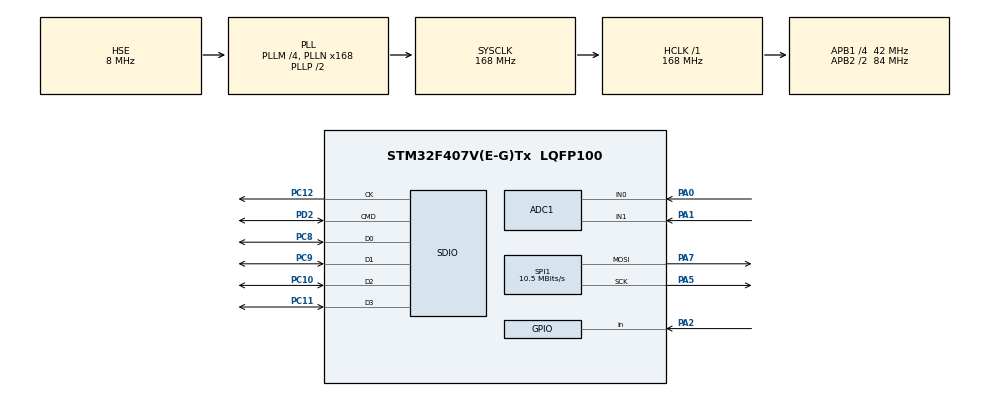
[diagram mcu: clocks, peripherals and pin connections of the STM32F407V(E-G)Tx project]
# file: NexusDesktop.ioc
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ADC1.Channel-0\#ChannelRegularConversion=ADC_CHANNEL_0
ADC1.ContinuousConvMode=ENABLE
ADC1.NbrOfConversionFlag=1
ADC1.Rank-0\#ChannelRegularConversion=1
ADC1.SamplingTime-0\#ChannelRegularConversion=ADC_SAMPLETIME_3CYCLES
ADC1.master=1
Dma.Request0=SDIO_RX
Dma.Request1=SDIO_TX
Dma.SDIO_RX.0.Direction=DMA_PERIPH_TO_MEMORY
Dma.SDIO_RX.0.FIFOMode=DMA_FIFOMODE_ENABLE
Dma.SDIO_RX.0.FIFOThreshold=DMA_FIFO_THRESHOLD_FULL
Dma.SDIO_RX.0.Instance=DMA2_Stream3
Dma.SDIO_RX.0.MemBurst=DMA_MBURST_INC4
Dma.SDIO_RX.0.MemDataAlignment=DMA_MDATAALIGN_WORD
Dma.SDIO_RX.0.MemInc=DMA_MINC_ENABLE
Dma.SDIO_RX.0.Mode=DMA_PFCTRL
Dma.SDIO_RX.0.PeriphBurst=DMA_PBURST_INC4
Dma.SDIO_RX.0.PeriphDataAlignment=DMA_PDATAALIGN_WORD
Dma.SDIO_RX.0.PeriphInc=DMA_PINC_DISABLE
Dma.SDIO_RX.0.Priority=DMA_PRIORITY_LOW
Dma.SDIO_TX.1.Direction=DMA_MEMORY_TO_PERIPH
Dma.SDIO_TX.1.FIFOMode=DMA_FIFOMODE_ENABLE
Dma.SDIO_TX.1.FIFOThreshold=DMA_FIFO_THRESHOLD_FULL
Dma.SDIO_TX.1.Instance=DMA2_Stream6
Dma.SDIO_TX.1.MemBurst=DMA_MBURST_INC4
Dma.SDIO_TX.1.MemDataAlignment=DMA_MDATAALIGN_WORD
Dma.SDIO_TX.1.MemInc=DMA_MINC_ENABLE
Dma.SDIO_TX.1.Mode=DMA_PFCTRL
Dma.SDIO_TX.1.PeriphBurst=DMA_PBURST_INC4
Dma.SDIO_TX.1.PeriphDataAlignment=DMA_PDATAALIGN_WORD
Dma.SDIO_TX.1.PeriphInc=DMA_PINC_DISABLE
Dma.SDIO_TX.1.Priority=DMA_PRIORITY_LOW
FATFS._CODE_PAGE=936
FREERTOS.Tasks01=defaultTask,24,128,StartDefaultTask,Default,NULL,Dynamic,NULL,NULL
Mcu.Family=STM32F4
Mcu.Name=STM32F407V(E-G)Tx
Mcu.Package=LQFP100
NVIC.DMA2_Stream3_IRQn=true\:5\:0\:false\:false\:true\:true\:false\:true\:true
NVIC.DMA2_Stream6_IRQn=true\:5\:0\:false\:false\:true\:true\:false\:true\:true
NVIC.PriorityGroup=NVIC_PRIORITYGROUP_4
NVIC.SDIO_IRQn=true\:5\:0\:false\:false\:true\:true\:true\:true\:true
NVIC.TIM4_IRQn=true\:15\:0\:false\:false\:true\:false\:false\:true\:true
NVIC.TIM5_IRQn=true\:5\:0\:false\:false\:true\:true\:true\:true\:true
NVIC.TimeBase=TIM4_IRQn
NVIC.TimeBaseIP=TIM4
PA0-WKUP.Signal=ADCx_IN0
PA1.Signal=ADCx_IN1
PA13.Mode=Serial_Wire
PA13.Signal=SYS_JTMS-SWDIO
PA14.Mode=Serial_Wire
PA14.Signal=SYS_JTCK-SWCLK
PA2.GPIO_PuPd=GPIO_PULLUP
PA2.Signal=GPIO_Input
PA5.Mode=TX_Only_Simplex_Unidirect_Master
PA5.Signal=SPI1_SCK
PA7.Mode=TX_Only_Simplex_Unidirect_Master
PA7.Signal=SPI1_MOSI
PC10.Mode=SD_4_bits_Wide_bus
PC10.Signal=SDIO_D2
PC11.Mode=SD_4_bits_Wide_bus
PC11.Signal=SDIO_D3
PC12.Mode=SD_4_bits_Wide_bus
PC12.Signal=SDIO_CK
PC14-OSC32_IN.Mode=LSE-External-Oscillator
PC14-OSC32_IN.Signal=RCC_OSC32_IN
PC15-OSC32_OUT.Mode=LSE-External-Oscillator
PC15-OSC32_OUT.Signal=RCC_OSC32_OUT
PC8.Mode=SD_4_bits_Wide_bus
PC8.Signal=SDIO_D0
PC9.Mode=SD_4_bits_Wide_bus
PC9.Signal=SDIO_D1
PD2.Mode=SD_4_bits_Wide_bus
PD2.Signal=SDIO_CMD
PH0-OSC_IN.Mode=HSE-External-Oscillator
PH0-OSC_IN.Signal=RCC_OSC_IN
PH1-OSC_OUT.Mode=HSE-External-Oscillator
PH1-OSC_OUT.Signal=RCC_OSC_OUT
ProjectManager.HeapSize=0x200
ProjectManager.StackSize=0x400
ProjectManager.TargetToolchain=MDK-ARM V5.32
RCC.48MHZClocksFreq_Value=48000000
RCC.AHBFreq_Value=168000000
RCC.APB1CLKDivider=RCC_HCLK_DIV4
RCC.APB1Freq_Value=42000000
RCC.APB1TimFreq_Value=84000000
RCC.APB2CLKDivider=RCC_HCLK_DIV2
RCC.APB2Freq_Value=84000000
RCC.APB2TimFreq_Value=168000000
RCC.CortexFreq_Value=168000000
RCC.HCLKFreq_Value=168000000
RCC.HSE_VALUE=8000000
RCC.HSI_VALUE=16000000
RCC.PLLM=4
RCC.PLLN=168
RCC.PLLQ=7
RCC.PLLSourceVirtual=RCC_PLLSOURCE_HSE
RCC.SYSCLKFreq_VALUE=168000000
RCC.SYSCLKSource=RCC_SYSCLKSOURCE_PLLCLK
RCC.VCOOutputFreq_Value=336000000
SDIO.ClockDiv=4
SH.ADCx_IN0.0=ADC1_IN0,IN0
SH.ADCx_IN1.0=ADC1_IN1,IN1
SPI1.BaudRatePrescaler=SPI_BAUDRATEPRESCALER_8
SPI1.CalculateBaudRate=10.5 MBits/s
SPI1.Direction=SPI_DIRECTION_2LINES
SPI1.Mode=SPI_MODE_MASTER
SPI1.VirtualType=VM_MASTER
TIM5.AutoReloadPreload=TIM_AUTORELOAD_PRELOAD_ENABLE
TIM5.Period=1000-1
TIM5.Prescaler=84-1
VP_FATFS_VS_SDIO.Mode=SDIO
VP_FREERTOS_VS_CMSIS_V2.Mode=CMSIS_V2
VP_SYS_VS_tim4.Mode=TIM4
VP_TIM5_VS_ClockSourceINT.Mode=Internal
board=custom

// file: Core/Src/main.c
/* USER CODE BEGIN Header */
/**
  ******************************************************************************
  * @file           : main.c
  * @brief          : Main program body
  ******************************************************************************
  * @attention
  *
  * Copyright (c) 2026 STMicroelectronics.
  * All rights reserved.
  *
  * This software is licensed under terms that can be found in the LICENSE file
  * in the root directory of this software component.
  * If no LICENSE file comes with this software, it is provided AS-IS.
  *
  ******************************************************************************
  */
/* USER CODE END Header */
#include "main.h"
#include "cmsis_os.h"
#include "adc.h"
#include "dma.h"
#include "fatfs.h"
#include "sdio.h"
#include "spi.h"
#include "tim.h"
#include "gpio.h"

/* USER CODE BEGIN Includes */
#include "app.h"

/* USER CODE END Includes */

void SystemClock_Config(void);
void MX_FREERTOS_Init(void);

int main(void)
{

  /* MCU Configuration--------------------------------------------------------*/

  /* Reset of all peripherals, Initializes the Flash interface and the Systick. */
  HAL_Init();

  /* Configure the system clock */
  SystemClock_Config();

  /* Initialize all configured peripherals */
  MX_GPIO_Init();
  MX_DMA_Init();
  MX_ADC1_Init();
  MX_TIM5_Init();
  MX_SPI1_Init();
  MX_SDIO_SD_Init();
  MX_FATFS_Init();
  /* USER CODE BEGIN 2 */
  App_Init();

  /* USER CODE END 2 */

  /* Init scheduler */
  osKernelInitialize();  /* Call init function for freertos objects (in cmsis_os2.c) */
  MX_FREERTOS_Init();

  /* Start scheduler */
  osKernelStart();

  /* We should never get here as control is now taken by the scheduler */

  /* Infinite loop */
  while (1)
  {

  }
}

void SystemClock_Config(void)
{
  RCC_OscInitTypeDef RCC_OscInitStruct = {0};
  RCC_ClkInitTypeDef RCC_ClkInitStruct = {0};

  /** Configure the main internal regulator output voltage
  */
  __HAL_RCC_PWR_CLK_ENABLE();
  __HAL_PWR_VOLTAGESCALING_CONFIG(PWR_REGULATOR_VOLTAGE_SCALE1);

  /** Initializes the RCC Oscillators according to the specified parameters
  * in the RCC_OscInitTypeDef structure.
  */
  RCC_OscInitStruct.OscillatorType = RCC_OSCILLATORTYPE_HSE;
  RCC_OscInitStruct.HSEState = RCC_HSE_ON;
  RCC_OscInitStruct.PLL.PLLState = RCC_PLL_ON;
  RCC_OscInitStruct.PLL.PLLSource = RCC_PLLSOURCE_HSE;
  RCC_OscInitStruct.PLL.PLLM = 4;
  RCC_OscInitStruct.PLL.PLLN = 168;
  RCC_OscInitStruct.PLL.PLLP = RCC_PLLP_DIV2;
  RCC_OscInitStruct.PLL.PLLQ = 7;
  if (HAL_RCC_OscConfig(&RCC_OscInitStruct) != HAL_OK)
  {
    Error_Handler();
  }

  /** Initializes the CPU, AHB and APB buses clocks
  */
  RCC_ClkInitStruct.ClockType = RCC_CLOCKTYPE_HCLK|RCC_CLOCKTYPE_SYSCLK
                              |RCC_CLOCKTYPE_PCLK1|RCC_CLOCKTYPE_PCLK2;
  RCC_ClkInitStruct.SYSCLKSource = RCC_SYSCLKSOURCE_PLLCLK;
  RCC_ClkInitStruct.AHBCLKDivider = RCC_SYSCLK_DIV1;
  RCC_ClkInitStruct.APB1CLKDivider = RCC_HCLK_DIV4;
  RCC_ClkInitStruct.APB2CLKDivider = RCC_HCLK_DIV2;

  if (HAL_RCC_ClockConfig(&RCC_ClkInitStruct, FLASH_LATENCY_5) != HAL_OK)
  {
    Error_Handler();
  }
}

void HAL_TIM_PeriodElapsedCallback(TIM_HandleTypeDef *htim)
{
  if (htim->Instance == TIM4)
  {
    HAL_IncTick();
  }
  /* USER CODE BEGIN Callback 1 */
  else if (htim->Instance == TIM5)
  {
    App_Tick1ms();
  }

  /* USER CODE END Callback 1 */
}

void Error_Handler(void)
{
  __disable_irq();
  while (1)
  {
  }
}

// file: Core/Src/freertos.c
/* USER CODE BEGIN Header */
/**
  ******************************************************************************
  * File Name          : freertos.c
  * Description        : Code for freertos applications
  ******************************************************************************
  * @attention
  *
  * Copyright (c) 2026 STMicroelectronics.
  * All rights reserved.
  *
  * This software is licensed under terms that can be found in the LICENSE file
  * in the root directory of this software component.
  * If no LICENSE file comes with this software, it is provided AS-IS.
  *
  ******************************************************************************
  */
/* USER CODE END Header */

#include "FreeRTOS.h"
#include "task.h"
#include "main.h"
#include "cmsis_os.h"

/* USER CODE BEGIN Includes */
#include "app.h"
#include "app_log.h"
#include "app_mouse.h"
#include "app_health.h"

/* USER CODE END Includes */

/* USER CODE BEGIN Variables */
/* LVGL 界面渲染与处理任务 */
osThreadId_t lvglTaskHandle;
const osThreadAttr_t lvglTask_attributes = {
  .name = "lvglTask",
  .stack_size = 2048 * 4,
  .priority = (osPriority_t) osPriorityNormal,
};

/* 按键事件消费任务（key.c 回调 -> FreeRTOS队列 -> 本任务处理） */
osThreadId_t keyEventTaskHandle;
const osThreadAttr_t keyEventTask_attributes = {
  .name = "keyEventTask",
  .stack_size = 128 * 4,
  .priority = (osPriority_t) osPriorityNormal,
};

/* 画图应用任务（原生 LCD 绘制, 独立于 LVGL, 防止界面状态被覆盖） */
/* 日志任务（消费日志队列, 写入 SD 卡 SYSLOG.LOG） */
osThreadId_t logTaskHandle;
const osThreadAttr_t logTask_attributes = {
  .name = "logTask",
  .stack_size = 1024 * 4,
  .priority = (osPriority_t) osPriorityLow,
};

osThreadId_t drawTaskHandle;
const osThreadAttr_t drawTask_attributes = {
  .name = "drawTask",
  .stack_size = 1024 * 4,
  .priority = (osPriority_t) osPriorityNormal,
};

/* 软件任务看门狗: 监测应用任务心跳, 记录超时与恢复。 */
osThreadId_t healthTaskHandle;
const osThreadAttr_t healthTask_attributes = {
  .name = "healthTask",
  .stack_size = 512 * 4,
  .priority = (osPriority_t) osPriorityAboveNormal,
};

/* USER CODE END Variables */
/* Definitions for defaultTask */
osThreadId_t defaultTaskHandle;
const osThreadAttr_t defaultTask_attributes = {
  .name = "defaultTask",
  .stack_size = 128 * 4,
  .priority = (osPriority_t) osPriorityNormal,
};

/* USER CODE BEGIN FunctionPrototypes */
void LvglTask(void *argument);
void KeyEventTask(void *argument);

/* USER CODE END FunctionPrototypes */

void StartDefaultTask(void *argument);

void MX_FREERTOS_Init(void); /* (MISRA C 2004 rule 8.1) */

void MX_FREERTOS_Init(void) {

  /* Create the thread(s) */
  /* creation of defaultTask */
  defaultTaskHandle = osThreadNew(StartDefaultTask, NULL, &defaultTask_attributes);

  /* USER CODE BEGIN RTOS_THREADS */
  /* add threads, ... */
  /* LVGL 界面渲染任务: 替换原 LCD 触摸/画图任务 */
  lvglTaskHandle = osThreadNew(LvglTask, NULL, &lvglTask_attributes);
  /* 按键事件消费任务: 处理按键队列消息 */
  keyEventTaskHandle = osThreadNew(KeyEventTask, NULL, &keyEventTask_attributes);
  /* 画图应用任务: 原生画布, 独立任务, 与 LVGL 前台切换运行 */
  drawTaskHandle = osThreadNew(App_DrawTask, NULL, &drawTask_attributes);
  /* 日志任务: 日志队列消费 + SD 写盘 */
  logTaskHandle = osThreadNew(App_LogTask, NULL, &logTask_attributes);
  healthTaskHandle = osThreadNew(App_HealthTask, NULL, &healthTask_attributes);
  /* USER CODE END RTOS_THREADS */

}

void StartDefaultTask(void *argument)
{
  /* USER CODE BEGIN StartDefaultTask */
  App_MouseTask();
   /* Infinite loop */
  // for(;;)
  // {
  //   osDelay(1);
  // }
  /* USER CODE END StartDefaultTask */
}

/* USER CODE BEGIN Application */
/**
  * @brief  FreeRTOS 空闲低功耗钩子
  * @note   CPU 空闲时进入 Sleep，SysTick/输入中断均可唤醒；不关闭外设和 SRAM。
  */
void vApplicationIdleHook(void)
{
  __DSB();
  __WFI();
  __ISB();
}

/**
  * @brief  LVGL 界面渲染任务入口
  * @note   实际循环体在应用层 App_LvglTask() 中实现 (app.c)
  */
void LvglTask(void *argument)
{
  (void)argument;
  App_LvglTask();
}

/**
  * @brief  按键事件消费任务入口
  * @note   实际循环体在应用层 App_KeyEventTask() 中实现 (app.c)
  */
void KeyEventTask(void *argument)
{
  (void)argument;
  App_KeyEventTask();
}

/* USER CODE END Application */
